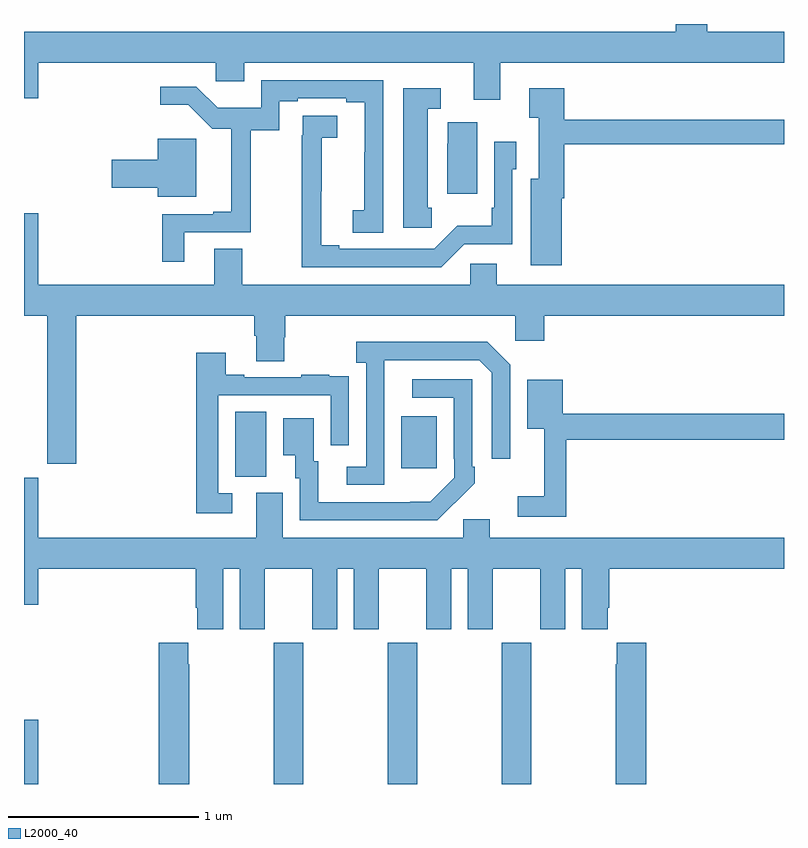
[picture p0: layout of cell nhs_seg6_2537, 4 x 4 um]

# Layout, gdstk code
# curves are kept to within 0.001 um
import gdstk
lib = gdstk.Library(unit=1e-6, precision=1e-09)
def R(c, l, rs):  # rectangles x0, y0, x1, y1
    for r in rs: c.add(gdstk.rectangle(r[:2], r[2:], *l))
def A(c, l, x, y, w, h, nx, ny, dx, dy):  # array of equal rectangles
    R(c, l, [(x+i*dx, y+j*dy, x+i*dx+w, y+j*dy+h) for i in range(nx) for j in range(ny)])
def P(c, l, *ps):  # polygons
    for p in ps: c.add(gdstk.Polygon(p, *l))
L2000_40 = (2000, 40)

nhs_seg6_2537 = lib.new_cell('nhs_seg6_2537')
A(nhs_seg6_2537, L2000_40, 262.315, 983.5, 0.155, 0.744, 3, 1, 0.6, 0)
R(nhs_seg6_2537, L2000_40, [(261,983.5,261.076,983.839), (262.112,985.117,262.276,985.46), (262.985,985.161,263.173,985.435)])
P(nhs_seg6_2537, L2000_40, [(263.506,987.296),(265,987.296),(265,987.46),(264.596,987.46),(264.596,987.5),(264.431,987.5),(264.431,987.46),(261,987.46),(261,987.108),(261.076,987.108),(261.076,987.296),(262.008,987.296),(262.008,987.198),(262.159,987.198),(262.159,987.296),(263.366,987.296),(263.366,987.102),(263.506,987.102)],
  [(261.844,986.403),(262.193,986.403),(262.193,986.941),(262.344,986.941),(262.344,987.094),(262.441,987.094),(262.441,987.108),(262.697,987.108),(262.697,987.088),(262.793,987.088),(262.792,986.521),(262.731,986.521),(262.731,986.401),(262.89,986.401),(262.89,987.204),(262.248,987.204),(262.248,987.058),(262.019,987.058),(261.906,987.171),(261.717,987.171),(261.717,987.074),(261.865,987.074),(261.991,986.949),(262.091,986.949),(262.091,986.512),(261.995,986.512),(261.995,986.499),(261.727,986.499),(261.727,986.25),(261.844,986.25)],
  [(263.147,986.532),(263.125,986.532),(263.125,987.055),(263.194,987.055),(263.194,987.163),(262.997,987.163),(262.997,986.427),(263.147,986.427)],
  [(263.83,986.582),(263.843,986.582),(263.843,986.866),(265,986.866),(265,986.995),(263.843,986.995),(263.843,987.163),(263.658,987.163),(263.658,987.007),(263.708,987.007),(263.708,986.686),(263.666,986.686),(263.666,986.229),(263.83,986.229)],
  [(263.316,986.34),(263.571,986.34),(263.571,986.736),(263.592,986.736),(263.592,986.881),(263.475,986.881),(263.475,986.533),(263.463,986.533),(263.463,986.437),(263.281,986.437),(263.16,986.316),(262.66,986.316),(262.66,986.336),(262.564,986.336),(262.566,986.902),(262.648,986.902),(262.648,987.017),(262.468,987.017),(262.468,986.915),(262.462,986.915),(262.462,986.22),(263.196,986.22)],
  [(263.386,986.983),(263.23,986.983),(263.23,986.87),(263.228,986.87),(263.228,986.607),(263.386,986.607)],
  [(261.907,986.896),(261.704,986.896),(261.704,986.786),(261.462,986.786),(261.462,986.639),(261.704,986.639),(261.704,986.591),(261.907,986.591)],
  [(262.149,986.318),(262.001,986.318),(262.001,986.128),(261.076,986.128),(261.076,986.503),(261,986.503),(261,985.964),(261.122,985.964),(261.122,985.185),(261.275,985.185),(261.275,985.964),(262.211,985.964),(262.211,985.858),(262.223,985.858),(262.223,985.726),(262.371,985.726),(262.371,985.851),(262.376,985.851),(262.376,985.964),(263.586,985.964),(263.586,985.833),(263.738,985.833),(263.738,985.964),(265,985.964),(265,986.128),(263.488,986.128),(263.488,986.238),(263.349,986.238),(263.349,986.128),(262.149,986.128)],
  [(262.896,985.531),(262.897,985.731),(263.397,985.731),(263.463,985.665),(263.463,985.212),(263.559,985.212),(263.559,985.707),(263.438,985.828),(262.749,985.828),(262.749,985.718),(262.8,985.718),(262.8,985.17),(262.698,985.17),(262.698,985.074),(262.896,985.074)],
  [(262.096,985.029),(262.023,985.029),(262.023,985.545),(262.614,985.545),(262.614,985.284),(262.71,985.284),(262.71,985.538),(262.709,985.538),(262.709,985.647),(262.607,985.647),(262.607,985.654),(262.459,985.654),(262.459,985.641),(262.159,985.641),(262.159,985.654),(262.063,985.654),(262.063,985.771),(261.907,985.771),(261.907,984.924),(262.096,984.924)],
  [(263.267,984.979),(263.268,984.978),(263.373,985.083),(263.373,985.171),(263.358,985.171),(263.358,985.629),(263.043,985.629),(263.043,985.533),(263.262,985.533),(263.262,985.213),(263.265,985.213),(263.265,985.113),(263.137,984.985),(262.549,984.984),(262.549,985.2),(262.525,985.2),(262.525,985.426),(262.364,985.426),(262.364,985.229),(262.427,985.229),(262.427,985.11),(262.452,985.11),(262.452,984.888),(263.176,984.888)],
  [(263.855,985.312),(265,985.312),(265,985.448),(263.835,985.448),(263.835,985.627),(263.648,985.627),(263.648,985.37),(263.738,985.37),(263.738,985.015),(263.598,985.015),(263.598,984.906),(263.855,984.906)],
  [(262.048,984.632),(262.136,984.632),(262.136,984.315),(262.267,984.315),(262.267,984.632),(262.517,984.632),(262.517,984.315),(262.648,984.315),(262.648,984.632),(262.736,984.632),(262.736,984.315),(262.867,984.315),(262.867,984.632),(263.117,984.632),(263.117,984.315),(263.248,984.315),(263.248,984.632),(263.336,984.632),(263.336,984.315),(263.467,984.315),(263.467,984.632),(263.717,984.632),(263.717,984.315),(263.848,984.315),(263.848,984.632),(263.936,984.632),(263.936,984.315),(264.073,984.315),(264.073,984.427),(264.08,984.427),(264.08,984.632),(265,984.632),(265,984.796),(263.452,984.796),(263.452,984.894),(263.313,984.894),(263.313,984.796),(262.363,984.796),(262.363,985.032),(262.223,985.032),(262.223,984.796),(261.076,984.796),(261.076,985.113),(261,985.113),(261,984.444),(261.076,984.444),(261.076,984.632),(261.904,984.632),(261.904,984.427),(261.911,984.427),(261.911,984.315),(262.048,984.315)],
  [(264.275,984.244),(264.119,984.244),(264.119,984.131),(264.115,984.131),(264.115,983.5),(264.275,983.5)],
  [(261.87,984.131),(261.865,984.131),(261.865,984.244),(261.71,984.244),(261.71,983.5),(261.87,983.5)])

lib.write_gds('nhs_seg6_2537.gds')
